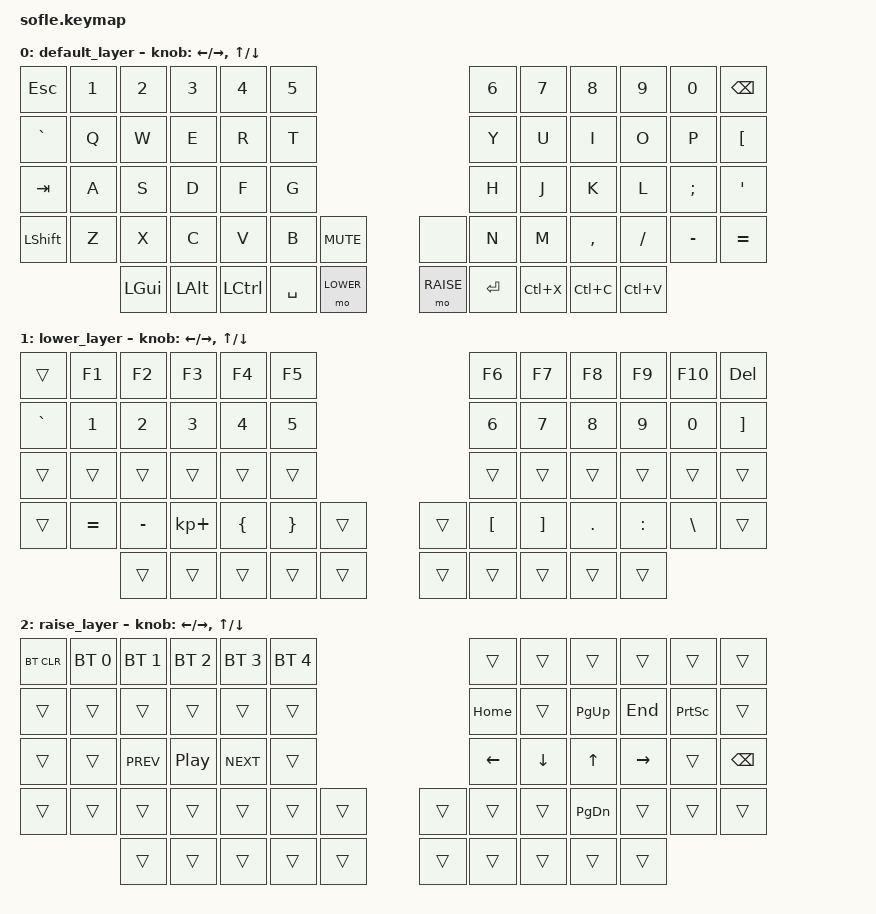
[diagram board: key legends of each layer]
/*
 * Copyright (c) 2020 The ZMK Contributors
 *
 * SPDX-License-Identifier: MIT
 */

#include <behaviors.dtsi>
#include <dt-bindings/zmk/keys.h>
#include <dt-bindings/zmk/bt.h>

#define DEFAULT 0
#define LOWER   1
#define RAISE   2


/ {
    keymap {
        compatible = "zmk,keymap";

        default_layer {
            bindings = <
//  |-----------------------------------------------------------------------------------------------------------------------------------------------------------------------|
//  |   ESC       |   1       |   2       |   3       |   4       |   5       (           |           )   6       |   7       |   8       |   9       |   0       | <--       |
    &kp ESC        &kp N1      &kp N2      &kp N3      &kp N4      &kp N5                              &kp N6      &kp N7      &kp N8      &kp N9      &kp N0      &kp BSPC
//  |-----------------------------------------------------------------------------------------------------------------------------------------------------------------------|
//  |  `      |   Q       |   W       |   E       |   R       |   T       (           |           )   Y       |   U       |   I       |   O       |   P       |  {      |
    &kp GRAVE     &kp Q       &kp W       &kp E       &kp R       &kp T                               &kp Y       &kp U       &kp I       &kp O       &kp P       &kp LBKT
//  |-----------------------------------------------------------------------------------------------------------------------------------------------------------------------|
//  |  TAB      |   A       |   S       |   D       |   F       |   G       (           |           )   H       |   J       |   K       |   L       |   ;       |   '       |
    &kp TAB     &kp A       &kp S       &kp D       &kp F       &kp G                               &kp H       &kp J       &kp K       &kp L       &kp SEMI    &kp SQT
//  |-----------------------------------------------------------------------------------------------------------------------------------------------------------------------|
//  | SHIFT     |   Z       |   X       |   C       |   V       |   B       ( MUTE      |           )   N       |   M       |   ,       |   /       |   -       |  =     |
    &kp LSHFT   &kp Z       &kp X       &kp C       &kp V       &kp B       &kp C_MUTE  &none       &kp N       &kp M       &kp COMMA   &kp FSLH     &kp MINUS    &kp EQUAL
//  |-----------------------------------------------------------------------------------------------------------------------------------------------------------------------|
//                          |  GUI      |  ALT      | CTRL      | SPACE     | LOWER     | RAISE     | ENTER     | CTRL+X           |   CTRL+C           |   CTRL+V          |              
                            &kp LGUI    &kp LALT    &kp LCTRL   &kp SPACE   &mo LOWER   &mo RAISE   &kp RET     &kp LC(X) &kp LC(C)  &kp LC(V)
            >;

            sensor-bindings = <&inc_dec_kp LEFT RIGHT &inc_dec_kp UP DOWN>;
        };

// TODO: Some binds are waiting for shifted keycode support.
        lower_layer {
            bindings = <
//  |-----------------------------------------------------------------------------------------------------------------------------------------------------------------------|
//  |           |  F1       |  F2       |  F3       |  F4       |  F5       (           |           )  F6       |  F7       |  F8       |  F9       |  F10      |  DEL      |
    &trans      &kp F1      &kp F2      &kp F3      &kp F4      &kp F5                              &kp F6      &kp F7      &kp F8      &kp F9      &kp F10     &kp DEL
//  |-----------------------------------------------------------------------------------------------------------------------------------------------------------------------|
//  | `         |   1       |   2       |   3       |   4       |   5       (           |           )   6       |   7       |   8       |   9       |    0      | }         |
    &kp GRAVE   &kp N1      &kp N2      &kp N3      &kp N4      &kp N5                              &kp N6      &kp N7      &kp N8      &kp N9      &kp N0      &kp RBKT 
//  |-----------------------------------------------------------------------------------------------------------------------------------------------------------------------|
//  |           |  !        |  @        |  #        |  $        |  %        (           |           )  ^        |  &        |  *        |  (        |   )       |   |       |
    &trans      &trans      &trans       &trans      &trans      &trans                              &trans      &trans      &trans      &trans      &trans       &trans 
//  |-----------------------------------------------------------------------------------------------------------------------------------------------------------------------|
//  |           |  =        |  -        |  +        |  {        |  }        (           |           )  [        |  ]        |  .        |  :        |   \       |           |
    &trans       &kp EQUAL   &kp MINUS   &kp KP_PLUS &kp LBRC    &kp RBRC    &trans      &trans      &kp LBKT    &kp RBKT    &kp DOT    &kp COLON   &kp BSLH    &trans
//  |-----------------------------------------------------------------------------------------------------------------------------------------------------------------------|
//                          |           |           |           |           |           |           |           |           |           |           |
                            &trans      &trans      &trans      &trans      &trans      &trans      &trans      &trans      &trans      &trans
            >;

            sensor-bindings = <&inc_dec_kp LEFT RIGHT &inc_dec_kp UP DOWN>;
        };

         raise_layer {
            bindings = <
//  |-----------------------------------------------------------------------------------------------------------------------------------------------------------------------|
//  |BTCLR      | BT1       | BT2       |  BT3      |  BT4      |  BT5      (           |           )           |           |           |           |           |           |
    &bt BT_CLR  &bt BT_SEL 0 &bt BT_SEL 1 &bt BT_SEL 2 &bt BT_SEL 3 &bt BT_SEL 4                    &trans      &trans      &trans      &trans      &trans      &trans
//  |-----------------------------------------------------------------------------------------------------------------------------------------------------------------------|
//  |           |           |           |           |           |           (           |           ) POS1      |           | PAGEUP    | END       | PRINTSCRN |           |
    &trans      &trans      &trans 		&trans 		&trans		&trans                              &kp HOME    &trans      &kp PG_UP   &kp END     &kp PSCRN   &trans
//  |-----------------------------------------------------------------------------------------------------------------------------------------------------------------------|
//  |           |           |PREV TRACK |PLAY/PAUSE |NEXT TRACK |           (           |           ) <-        |   v       |   ^       |  ->       |           | BKSPC     |
    &trans      &trans      &kp C_PREV  &kp C_PP    &kp C_NEXT  &trans                              &kp LEFT    &kp DOWN    &kp UP      &kp RIGHT   &trans      &kp BSPC
//  |-----------------------------------------------------------------------------------------------------------------------------------------------------------------------|
//  |                                |               |               |               |               |                   (                    |           )               |                   | PAGEDOWN  |           |          |           |
    &trans   &trans &trans &trans &trans &trans     &trans      &trans      &trans &trans      &kp PG_DN   &trans      &trans      &trans
//  |-----------------------------------------------------------------------------------------------------------------------------------------------------------------------|
//                          |           |           |           |           (           |           )           |           |           |           |
                            &trans      &trans      &trans      &trans      &trans      &trans      &trans      &trans      &trans      &trans
            >;

            sensor-bindings = <&inc_dec_kp LEFT RIGHT &inc_dec_kp UP DOWN>;
        };
};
